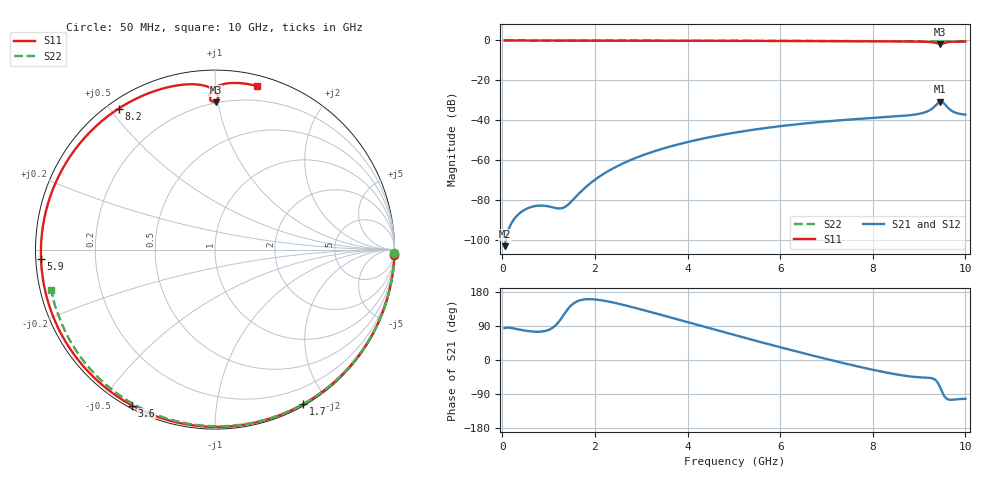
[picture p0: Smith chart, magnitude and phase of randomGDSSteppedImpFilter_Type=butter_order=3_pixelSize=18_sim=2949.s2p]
! freq	dB(S11)	phase(S11)	dB(S12)	phase(S12)
!  dB(S21)	phase(S21)	dB(S22)	phase(S22)
!S-par simulation data
#  GHz  S  DB  R 50
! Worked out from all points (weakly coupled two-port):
!   200 points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, 50 MHz to 10 GHz, reference 50 ohm
!   highest |S21| = -30.66 dB at 9.45 GHz (marker M1); lowest = -103.0 dB at 50 MHz (marker M2)
!   lowest |S11| = -1.7 dB at 9.45 GHz (marker M3), VSWR 10.18, Z = 9.78 + j49.3 ohm
!   |S11| at or under -10 dB: nowhere
!   |S22| runs from -0.5 to 0.0 dB; largest |S21 - S12| = 0
!   S11 on the Smith chart (normalised r, x): 50 MHz: 0, -62; 1.7 GHz: 0.02, -1.72; 3.6 GHz: 0.01, -0.60; 5.9 GHz: 0.01, -0.03; 8.2 GHz: 0.03, +0.53; 10 GHz: 0.08, +1.29
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0.05  -0.00 -1.9  -102.97 84.2  -102.97 84.2  -0.00 -1.0
0.75  -0.04 -27.4  -82.77 74.5  -82.77 74.5  -0.02 -14.4
1.5  -0.07 -53.7  -80.43 145.5  -80.43 145.5  -0.04 -28.5
1.7  -0.07 -60.4  -75.64 158.3  -75.64 158.3  -0.04 -32.3
1.75  -0.08 -62.1  -74.54 159.5  -74.54 159.5  -0.04 -33.2
2.1  -0.09 -73.5  -68.09 158.3  -68.09 158.3  -0.05 -39.6
2.45  -0.10 -84.5  -63.32 150.1  -63.32 150.1  -0.06 -46.0
3.4  -0.14 -112.4  -54.62 120.1  -54.62 120.1  -0.08 -62.8
3.6  -0.14 -118.0  -53.25 113.3  -53.25 113.3  -0.09 -66.3
4.35  -0.18 -138.0  -49.03 88.0  -49.03 88.0  -0.11 -79.0
5.05  -0.21 -155.8  -46.02 64.6  -46.02 64.6  -0.14 -90.4
5.9  -0.26 -176.9  -43.20 36.9  -43.20 36.9  -0.18 -103.9
6.7  -0.31 163.3  -41.16 11.8  -41.16 11.8  -0.23 -116.2
7.45  -0.37 144.3  -39.68 -10.6  -39.68 -10.6  -0.28 -127.6
8.2  -0.43 124.4  -38.49 -30.9  -38.49 -30.9  -0.35 -138.8
8.35  -0.45 120.2  -38.27 -34.5  -38.27 -34.5  -0.36 -141.1
9.1  -0.63 98.0  -36.18 -46.2  -36.18 -46.2  -0.45 -152.4
9.25  -0.81 92.9  -34.63 -47.5  -34.63 -47.5  -0.47 -154.7
9.45  -1.71 89.7  -30.66 -70.7  -30.66 -70.7  -0.49 -157.6
9.55  -1.26 91.9  -31.79 -96.6  -31.79 -96.6  -0.49 -159.2
9.75  -0.60 84.3  -35.81 -104.6  -35.81 -104.6  -0.51 -162.4
10  -0.52 75.5  -37.12 -102.5  -37.12 -102.5  -0.55 -166.3
